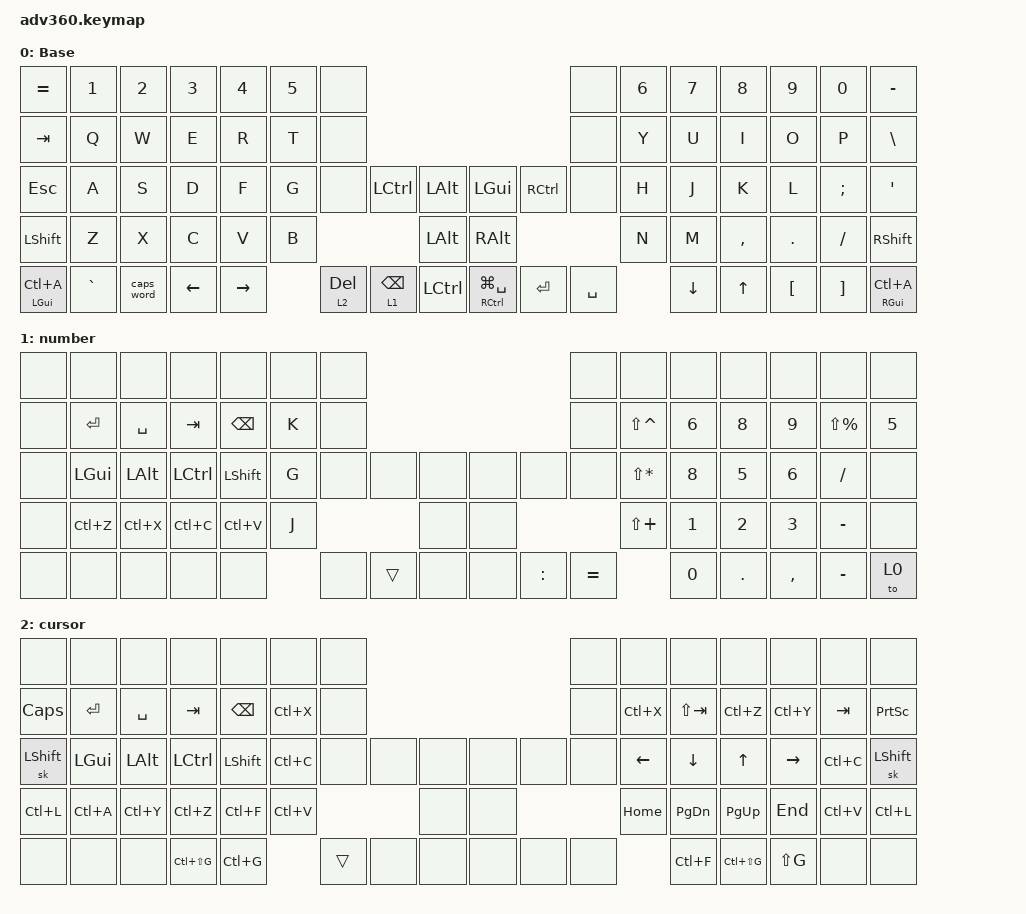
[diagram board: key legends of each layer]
#include <dt-bindings/zmk/stp.h>
#include <behaviors.dtsi>
#include <dt-bindings/zmk/keys.h>

/ {
    behaviors {
        #include "macros.dtsi"
      #include "version.dtsi"

        hm: homerow_mods {
            compatible = "zmk,behavior-hold-tap";
            label = "HOMEROW_MODS";
            #binding-cells = <2>;
            tapping-term-ms = <200>;
            quick_tap_ms = <175>;
            flavor = "tap-preferred";
            bindings = <&kp>, <&kp>;
        };

        thumb_layer: thumb_layer {
            compatible = "zmk,behavior-hold-tap";
            label = "THUMB_LAYER";
            bindings = <&mo>, <&kp>;

            #binding-cells = <2>;
            tapping-term-ms = <200>;
            quick-tap-ms = <300>;
            flavor = "balanced";
        };

        thumb_modifier: thumb_modifier {
            compatible = "zmk,behavior-hold-tap";
            label = "THUMB_MODIFIER";
            bindings = <&kp>, <&kp>;

            #binding-cells = <2>;
            tapping-term-ms = <200>;
            quick-tap-ms = <300>;
        };
    };

    keymap {
        compatible = "zmk,keymap";

        qwerty {
            display-name = "Base";
            bindings = <
&kp EQUAL                   &kp N1     &kp N2      &kp N3    &kp N4     &kp N5  &none                                                                                                       &none      &kp N6  &kp N7    &kp N8     &kp N9    &kp N0    &kp MINUS
&kp TAB                     &kp Q      &kp W       &kp E     &kp R      &kp T   &none                                                                                                       &none      &kp Y   &kp U     &kp I      &kp O     &kp P     &kp BSLH
&kp ESC                     &kp A      &kp S       &kp D     &kp F      &kp G   &none               &kp LCTRL                 &kp LALT          &kp LGUI                         &kp RCTRL  &none      &kp H   &kp J     &kp K      &kp L     &kp SEMI  &kp SQT
&kp LSHFT                   &kp Z      &kp X       &kp C     &kp V      &kp B                                                 &kp LEFT_ALT      &kp RIGHT_ALT                                          &kp N   &kp M     &kp COMMA  &kp DOT   &kp FSLH  &kp RSHFT
&thumb_modifier LGUI LC(A)  &kp GRAVE  &caps_word  &kp LEFT  &kp RIGHT          &thumb_layer 2 DEL  &thumb_layer 1 BACKSPACE  &kp LCTRL         &thumb_modifier RCTRL LG(SPACE)  &kp ENTER  &kp SPACE          &kp DOWN  &kp UP     &kp LBKT  &kp RBKT  &thumb_modifier RGUI LC(A)
            >;
        };

        number {
            bindings = <
&none  &none      &none      &none      &none       &none  &none                                       &none      &none          &none   &none    &none      &none          &none
&none  &kp RET    &kp SPACE  &kp TAB    &kp BSPC    &kp K  &none                                       &none      &kp LS(CARET)  &kp N6  &kp N8   &kp N9     &kp LS(PRCNT)  &kp N5
&none  &kp LGUI   &kp LALT   &kp LCTRL  &kp LSHIFT  &kp G  &none  &none   &none      &none  &none      &none      &kp LS(STAR)   &kp N8  &kp N5   &kp N6     &kp FSLH       &none
&none  &kp LC(Z)  &kp LC(X)  &kp LC(C)  &kp LC(V)   &kp J                 &none      &none                        &kp LS(PLUS)   &kp N1  &kp N2   &kp N3     &kp MINUS      &none
&none  &none      &none      &none      &none              &none  &trans  &none      &none  &kp COLON  &kp EQUAL                 &kp N0  &kp DOT  &kp COMMA  &kp MINUS      &to 0
            >;
        };

        cursor {
            bindings = <
&none         &none      &none      &none          &none       &none      &none                                   &none  &none      &none        &none          &none      &none      &none
&kp CAPSLOCK  &kp RET    &kp SPACE  &kp TAB        &kp BSPC    &kp LC(X)  &none                                   &none  &kp LC(X)  &kp LS(TAB)  &kp LC(Z)      &kp LC(Y)  &kp TAB    &kp PRINTSCREEN
&sk LSHIFT    &kp LGUI   &kp LALT   &kp LCTRL      &kp LSHIFT  &kp LC(C)  &none   &none  &none      &none  &none  &none  &kp LEFT   &kp DOWN     &kp UP         &kp RIGHT  &kp LC(C)  &sk LSHIFT
&kp LC(L)     &kp LC(A)  &kp LC(Y)  &kp LC(Z)      &kp LC(F)   &kp LC(V)                 &none      &none                &kp HOME   &kp PG_DN    &kp PG_UP      &kp END    &kp LC(V)  &kp LC(L)
&none         &none      &none      &kp LC(LS(G))  &kp LC(G)              &trans  &none  &none      &none  &none  &none             &kp LC(F)    &kp LC(LS(G))  &kp LS(G)  &none      &none
            >;
        };
    };
};
